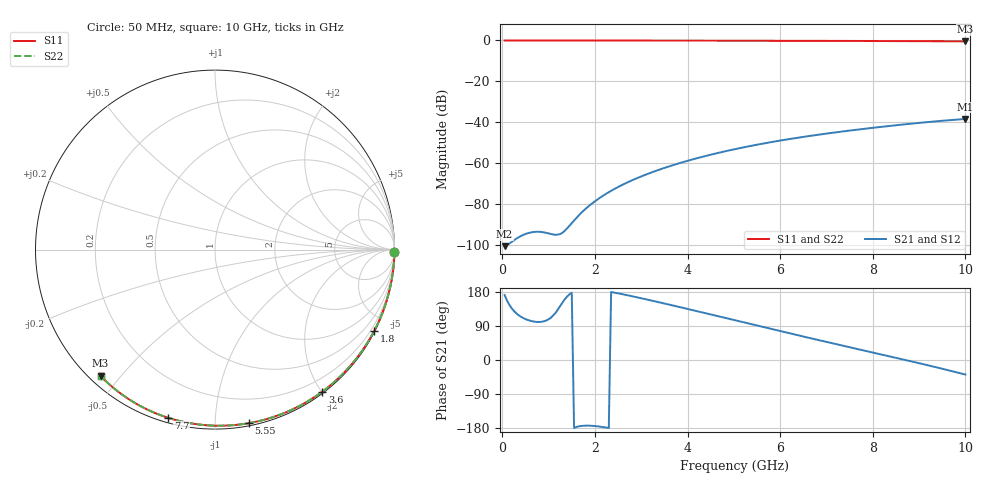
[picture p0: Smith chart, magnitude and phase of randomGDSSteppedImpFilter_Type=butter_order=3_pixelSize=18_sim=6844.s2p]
! freq	dB(S11)	phase(S11)	dB(S12)	phase(S12)
!  dB(S21)	phase(S21)	dB(S22)	phase(S22)
!S-par simulation data
#  GHz  S  DB  R 50
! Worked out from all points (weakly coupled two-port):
!   200 points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, 50 MHz to 10 GHz, reference 50 ohm
!   highest |S21| = -38.35 dB at 10 GHz (marker M1); lowest = -100.5 dB at 50 MHz (marker M2)
!   lowest |S11| = -0.5 dB at 10 GHz (marker M3), VSWR 38.54, Z = 1.55 - j22.1 ohm
!   |S11| at or under -10 dB: nowhere
!   |S22| runs from -0.5 to 0.0 dB; largest |S21 - S12| = 0
!   S11 on the Smith chart (normalised r, x): 50 MHz: open; 1.8 GHz: 0.04, -4.16; 3.6 GHz: 0.02, -2.01; 5.55 GHz: 0.02, -1.21; 7.7 GHz: 0.02, -0.76; 10 GHz: 0.03, -0.44
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0.05  -0.00 -0.8  -100.47 171.6  -100.47 171.6  -0.00 -0.8
0.9  -0.02 -13.6  -93.73 102.3  -93.73 102.3  -0.02 -13.6
1.75  -0.03 -26.3  -83.23 -173.5  -83.23 -173.5  -0.03 -26.3
1.8  -0.03 -27.0  -82.20 -173.2  -82.20 -173.2  -0.03 -27.0
1.9  -0.04 -28.5  -80.30 -173.4  -80.30 -173.4  -0.04 -28.5
1.95  -0.04 -29.2  -79.40 -173.7  -79.40 -173.7  -0.04 -29.2
2.1  -0.04 -31.4  -76.95 -175.7  -76.95 -175.7  -0.04 -31.4
2.25  -0.04 -33.6  -74.76 -178.4  -74.76 -178.4  -0.04 -33.6
2.45  -0.05 -36.5  -72.17 177.2  -72.17 177.2  -0.05 -36.5
2.65  -0.05 -39.4  -69.88 172.3  -69.88 172.3  -0.05 -39.4
3  -0.06 -44.4  -66.40 163.0  -66.40 163.0  -0.06 -44.4
3.4  -0.07 -50.1  -63.01 151.9  -63.01 151.9  -0.07 -50.1
3.6  -0.07 -52.9  -61.50 146.3  -61.50 146.3  -0.07 -52.9
4.3  -0.09 -62.5  -56.93 126.1  -56.93 126.1  -0.09 -62.5
5.05  -0.11 -72.5  -52.95 104.2  -52.95 104.2  -0.11 -72.5
5.55  -0.13 -79.0  -50.70 89.5  -50.70 89.5  -0.13 -79.0
6.1  -0.15 -86.0  -48.52 73.5  -48.52 73.5  -0.15 -86.0
6.7  -0.18 -93.4  -46.43 56.2  -46.43 56.2  -0.18 -93.4
7.7  -0.24 -105.5  -43.46 28.1  -43.46 28.1  -0.24 -105.5
8.35  -0.29 -113.2  -41.77 10.0  -41.77 10.0  -0.29 -113.2
9.15  -0.36 -122.5  -39.93 -12.7  -39.93 -12.7  -0.36 -122.4
10  -0.45 -132.2  -38.35 -38.3  -38.35 -38.3  -0.45 -132.2
